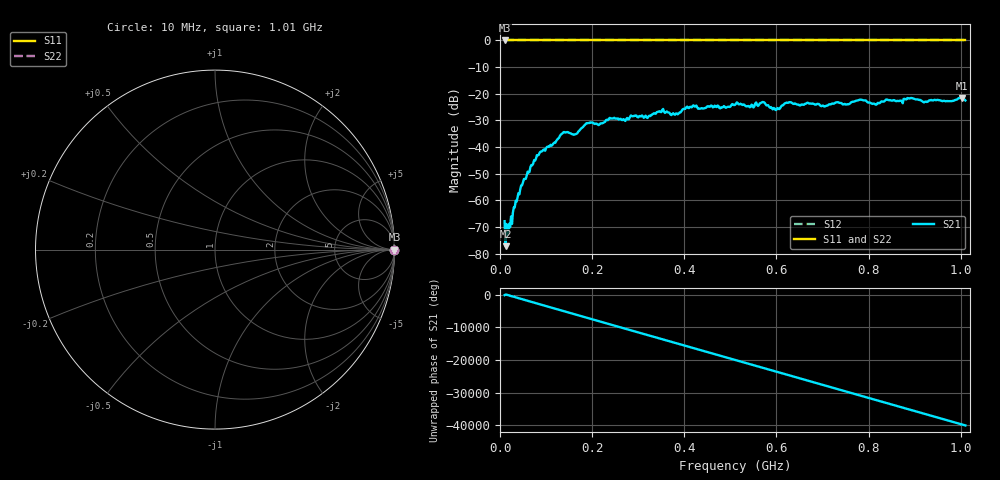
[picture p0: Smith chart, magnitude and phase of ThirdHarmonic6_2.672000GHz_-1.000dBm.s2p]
! 8/17/2025 6:13:41 AM
! C:\ANRITSUVNA\TEMP\TEMP.S2P
! CHANNEL.1
! TR.MEASUREMENT
! RAW.DATA
! RF.CORRECTION.OFF
! AVERAGING.OFF
! IF.BANDWIDTH: 5KHZ
! SWEEPTYPE:  FREQ.SWEEP(Linear)
! Reference Plane Port Info
! PORT:  PORT1  PORT2
! DISTANCE:  0  m  0  m
! TIME:  0  s  0  s
! PHASE.OFFSET:  0  deg.  0  deg.
! LOSS:  0  dB  0  dB
! REF.LOSS:  0  dB  0  dB
! REF.FREQ:  0  Hz  0  Hz
! Power Info
! POWER:  -20  dBm  -20  dBm
! EFF.POWER:  -20  dBm  -20  dBm
! SOURCE.ATTEN:  0  dB  0  dB
! TEST.ATTEN:  0  dB  0  dB
# GHZ S RI R 50.0
! FREQ.GHZ  S11RE  S11IM  S21RE  S21IM  S12RE  S12IM  S22RE  S22IM
!; PortSelection: Port_12
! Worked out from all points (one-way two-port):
!   501 points, 10 MHz to 1.01 GHz, reference 50 ohm
!   highest |S21| = -21.54 dB at 1.002 GHz (marker M1); lowest = -77.1 dB at 12 MHz (marker M2)
!   lowest |S11| = 0.0 dB at 10 MHz (marker M3)
!   |S11| at or under -10 dB: nowhere
!   |S22| runs from 0.0 to 0.0 dB; largest |S21 - S12| = 1.1
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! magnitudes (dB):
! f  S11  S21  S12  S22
! 10 MHz  0.0  -67.8  0.0  0.0
! 12 MHz  0.0  -77.1  0.0  0.0
! 16 MHz  0.0  -73.0  0.0  0.0
! 22 MHz  0.0  -70.0  0.0  0.0
! 48 MHz  0.0  -54.3  0.0  0.0
! 84 MHz  0.0  -42.9  0.0  0.0
! 136 MHz  0.0  -34.8  0.0  0.0
! 164 MHz  0.0  -35.1  0.0  0.0
! 178 MHz  0.0  -32.8  0.0  0.0
! 192 MHz  0.0  -31.0  0.0  0.0
! 344 MHz  0.0  -26.7  0.0  0.0
! 382 MHz  0.0  -27.4  0.0  0.0
! 422 MHz  0.0  -24.8  0.0  0.0
! 510 MHz  0.0  -24.2  0.0  0.0
! 570 MHz  0.0  -23.1  0.0  0.0
! 602 MHz  0.0  -25.3  0.0  0.0
! 626 MHz  0.0  -23.3  0.0  0.0
! 678 MHz  0.0  -23.6  0.0  0.0
! 814 MHz  0.0  -23.9  0.0  0.0
! 844 MHz  0.0  -22.4  0.0  0.0
! 1.002 GHz  0.0  -21.5  0.0  0.0
! 1.01 GHz  0.0  -22.5  0.0  0.0
